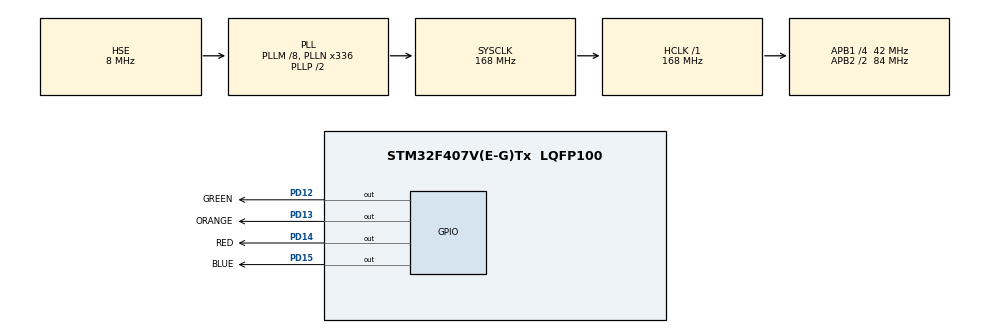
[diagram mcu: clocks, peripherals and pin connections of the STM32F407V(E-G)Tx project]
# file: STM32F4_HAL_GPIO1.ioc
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Mcu.Family=STM32F4
Mcu.Name=STM32F407V(E-G)Tx
Mcu.Package=LQFP100
NVIC.PriorityGroup=NVIC_PRIORITYGROUP_0
PD12.GPIO_Label=GREEN
PD12.Signal=GPIO_Output
PD13.GPIO_Label=ORANGE
PD13.Signal=GPIO_Output
PD14.GPIO_Label=RED
PD14.Signal=GPIO_Output
PD15.GPIO_Label=BLUE
PD15.Signal=GPIO_Output
PH0-OSC_IN.Mode=HSE-External-Oscillator
PH0-OSC_IN.Signal=RCC_OSC_IN
PH1-OSC_OUT.Mode=HSE-External-Oscillator
PH1-OSC_OUT.Signal=RCC_OSC_OUT
ProjectManager.HeapSize=0x200
ProjectManager.StackSize=0x400
ProjectManager.TargetToolchain=TrueSTUDIO
RCC.48MHZClocksFreq_Value=48000000
RCC.AHBFreq_Value=168000000
RCC.APB1CLKDivider=RCC_HCLK_DIV4
RCC.APB1Freq_Value=42000000
RCC.APB1TimFreq_Value=84000000
RCC.APB2CLKDivider=RCC_HCLK_DIV2
RCC.APB2Freq_Value=84000000
RCC.APB2TimFreq_Value=168000000
RCC.CortexFreq_Value=168000000
RCC.HCLKFreq_Value=168000000
RCC.HSE_VALUE=8000000
RCC.HSI_VALUE=16000000
RCC.LSE_VALUE=32768
RCC.PLLM=8
RCC.PLLN=336
RCC.PLLQ=7
RCC.PLLSourceVirtual=RCC_PLLSOURCE_HSE
RCC.SYSCLKFreq_VALUE=168000000
RCC.SYSCLKSource=RCC_SYSCLKSOURCE_PLLCLK
RCC.VCOOutputFreq_Value=336000000
board=STM32F4DISCOVERY

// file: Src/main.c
/**
  ******************************************************************************
  * @file           : main.c
  * @brief          : Main program body
  ******************************************************************************
  ** This notice applies to any and all portions of this file
  * that are not between comment pairs USER CODE BEGIN and
  * USER CODE END. Other portions of this file, whether
  * inserted by the user or by software development tools
  * are owned by their respective copyright owners.
  *
  * COPYRIGHT(c) 2018 STMicroelectronics
  *
  * Redistribution and use in source and binary forms, with or without modification,
  * are permitted provided that the following conditions are met:
  *   1. Redistributions of source code must retain the above copyright notice,
  *      this list of conditions and the following disclaimer.
  *   2. Redistributions in binary form must reproduce the above copyright notice,
  *      this list of conditions and the following disclaimer in the documentation
  *      and/or other materials provided with the distribution.
  *   3. Neither the name of STMicroelectronics nor the names of its contributors
  *      may be used to endorse or promote products derived from this software
  *      without specific prior written permission.
  *
  * THIS SOFTWARE IS PROVIDED BY THE COPYRIGHT HOLDERS AND CONTRIBUTORS "AS IS"
  * AND ANY EXPRESS OR IMPLIED WARRANTIES, INCLUDING, BUT NOT LIMITED TO, THE
  * IMPLIED WARRANTIES OF MERCHANTABILITY AND FITNESS FOR A PARTICULAR PURPOSE ARE
  * DISCLAIMED. IN NO EVENT SHALL THE COPYRIGHT HOLDER OR CONTRIBUTORS BE LIABLE
  * FOR ANY DIRECT, INDIRECT, INCIDENTAL, SPECIAL, EXEMPLARY, OR CONSEQUENTIAL
  * DAMAGES (INCLUDING, BUT NOT LIMITED TO, PROCUREMENT OF SUBSTITUTE GOODS OR
  * SERVICES; LOSS OF USE, DATA, OR PROFITS; OR BUSINESS INTERRUPTION) HOWEVER
  * CAUSED AND ON ANY THEORY OF LIABILITY, WHETHER IN CONTRACT, STRICT LIABILITY,
  * OR TORT (INCLUDING NEGLIGENCE OR OTHERWISE) ARISING IN ANY WAY OUT OF THE USE
  * OF THIS SOFTWARE, EVEN IF ADVISED OF THE POSSIBILITY OF SUCH DAMAGE.
  *
  ******************************************************************************
  */
#include "main.h"
#include "stm32f4xx_hal.h"

/* USER CODE BEGIN PV */
/* Private variables ---------------------------------------------------------*/
#define BITBAND_PERI_BASE 	0x40000000
#define ALIAS_PERI_BASE 	0x42000000
#define BITBAND_PERI(a,b) ((ALIAS_PERI_BASE + ((a-BITBAND_PERI_BASE)<<5) + (b<<2)))

#define GPIOD_ODR	(0x40020C00 + 0x14)

volatile uint32_t *GPIOD_PIN12 = (uint32_t)BITBAND_PERI(GPIOD_ODR, 12);
volatile uint32_t *GPIOD_PIN13 = (uint32_t)BITBAND_PERI(GPIOD_ODR, 13);
volatile uint32_t *GPIOD_PIN14 = (uint32_t)BITBAND_PERI(GPIOD_ODR, 14);
volatile uint32_t *GPIOD_PIN15 = (uint32_t)BITBAND_PERI(GPIOD_ODR, 15);

/* USER CODE END PV */

void SystemClock_Config(void);
static void MX_GPIO_Init(void);

/* USER CODE BEGIN PFP */
/* Private function prototypes -----------------------------------------------*/

/* USER CODE END PFP */

int main(void)
{

  /* MCU Configuration----------------------------------------------------------*/

  /* Reset of all peripherals, Initializes the Flash interface and the Systick. */
  HAL_Init();

  /* Configure the system clock */
  SystemClock_Config();

  /* Initialize all configured peripherals */
  MX_GPIO_Init();

  /* Infinite loop */
  while (1)
  {

  /* USER CODE BEGIN 3 */
	  /*
	  HAL_GPIO_TogglePin(GPIOD, GPIO_PIN_12);
	  HAL_Delay(100);
	  HAL_GPIO_TogglePin(GPIOD, GPIO_PIN_13);
	  HAL_Delay(100);
	  HAL_GPIO_TogglePin(GPIOD, GPIO_PIN_14);
	  HAL_Delay(100);
	  HAL_GPIO_TogglePin(GPIOD, GPIO_PIN_15);
	  HAL_Delay(100);
	  */

	  *GPIOD_PIN12 = !*GPIOD_PIN12;
	  HAL_Delay(100);
	  *GPIOD_PIN13 = !*GPIOD_PIN13;
	  HAL_Delay(100);
	  *GPIOD_PIN14 = !*GPIOD_PIN14;
	  HAL_Delay(100);
	  *GPIOD_PIN15 = !*GPIOD_PIN15;
	  HAL_Delay(100);

  }
  /* USER CODE END 3 */

}

void SystemClock_Config(void)
{

  RCC_OscInitTypeDef RCC_OscInitStruct;
  RCC_ClkInitTypeDef RCC_ClkInitStruct;

    /**Configure the main internal regulator output voltage
    */
  __HAL_RCC_PWR_CLK_ENABLE();

  __HAL_PWR_VOLTAGESCALING_CONFIG(PWR_REGULATOR_VOLTAGE_SCALE1);

    /**Initializes the CPU, AHB and APB busses clocks
    */
  RCC_OscInitStruct.OscillatorType = RCC_OSCILLATORTYPE_HSE;
  RCC_OscInitStruct.HSEState = RCC_HSE_ON;
  RCC_OscInitStruct.PLL.PLLState = RCC_PLL_ON;
  RCC_OscInitStruct.PLL.PLLSource = RCC_PLLSOURCE_HSE;
  RCC_OscInitStruct.PLL.PLLM = 8;
  RCC_OscInitStruct.PLL.PLLN = 336;
  RCC_OscInitStruct.PLL.PLLP = RCC_PLLP_DIV2;
  RCC_OscInitStruct.PLL.PLLQ = 7;
  if (HAL_RCC_OscConfig(&RCC_OscInitStruct) != HAL_OK)
  {
    _Error_Handler(__FILE__, __LINE__);
  }

    /**Initializes the CPU, AHB and APB busses clocks
    */
  RCC_ClkInitStruct.ClockType = RCC_CLOCKTYPE_HCLK|RCC_CLOCKTYPE_SYSCLK
                              |RCC_CLOCKTYPE_PCLK1|RCC_CLOCKTYPE_PCLK2;
  RCC_ClkInitStruct.SYSCLKSource = RCC_SYSCLKSOURCE_PLLCLK;
  RCC_ClkInitStruct.AHBCLKDivider = RCC_SYSCLK_DIV1;
  RCC_ClkInitStruct.APB1CLKDivider = RCC_HCLK_DIV4;
  RCC_ClkInitStruct.APB2CLKDivider = RCC_HCLK_DIV2;

  if (HAL_RCC_ClockConfig(&RCC_ClkInitStruct, FLASH_LATENCY_5) != HAL_OK)
  {
    _Error_Handler(__FILE__, __LINE__);
  }

    /**Configure the Systick interrupt time
    */
  HAL_SYSTICK_Config(HAL_RCC_GetHCLKFreq()/1000);

    /**Configure the Systick
    */
  HAL_SYSTICK_CLKSourceConfig(SYSTICK_CLKSOURCE_HCLK);

  /* SysTick_IRQn interrupt configuration */
  HAL_NVIC_SetPriority(SysTick_IRQn, 0, 0);
}

/** Configure pins as
        * Analog
        * Input
        * Output
        * EVENT_OUT
        * EXTI
*/
static void MX_GPIO_Init(void)
{

  GPIO_InitTypeDef GPIO_InitStruct;

  /* GPIO Ports Clock Enable */
  __HAL_RCC_GPIOH_CLK_ENABLE();
  __HAL_RCC_GPIOD_CLK_ENABLE();

  /*Configure GPIO pin Output Level */
  HAL_GPIO_WritePin(GPIOD, GREEN_Pin|ORANGE_Pin|RED_Pin|BLUE_Pin, GPIO_PIN_RESET);

  /*Configure GPIO pins : GREEN_Pin ORANGE_Pin RED_Pin BLUE_Pin */
  GPIO_InitStruct.Pin = GREEN_Pin|ORANGE_Pin|RED_Pin|BLUE_Pin;
  GPIO_InitStruct.Mode = GPIO_MODE_OUTPUT_PP;
  GPIO_InitStruct.Pull = GPIO_NOPULL;
  GPIO_InitStruct.Speed = GPIO_SPEED_FREQ_LOW;
  HAL_GPIO_Init(GPIOD, &GPIO_InitStruct);

}

void _Error_Handler(char *file, int line)
{
  while(1)
  {
  }
}

/************************ (C) COPYRIGHT STMicroelectronics *****END OF FILE****/
